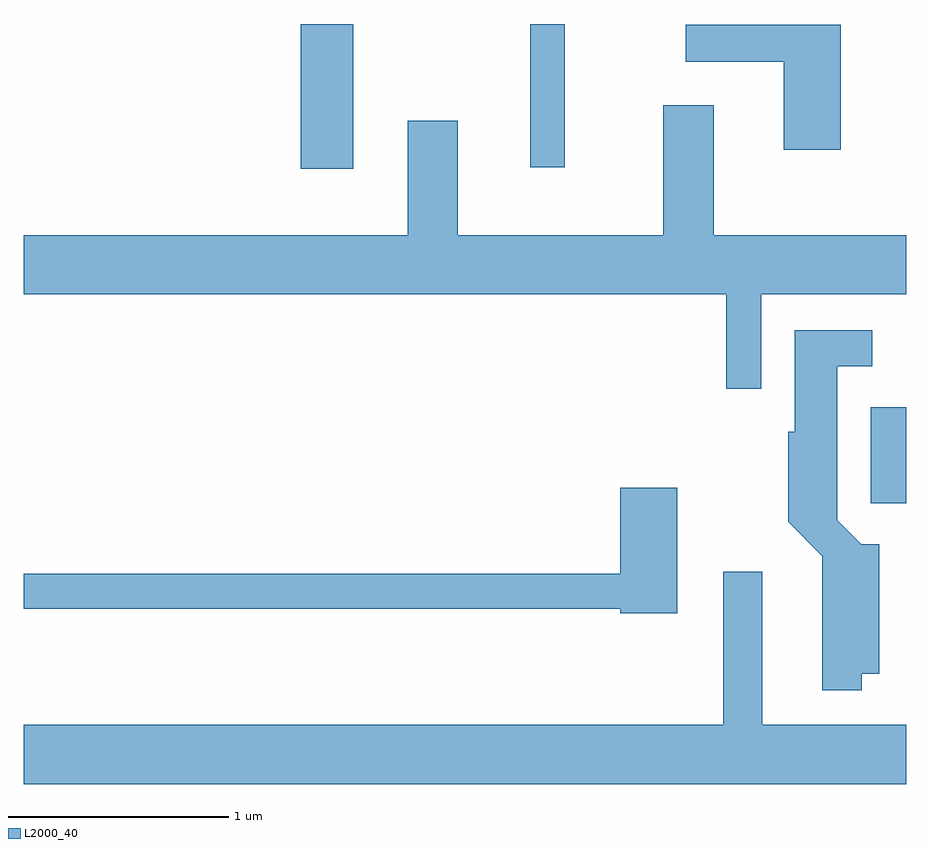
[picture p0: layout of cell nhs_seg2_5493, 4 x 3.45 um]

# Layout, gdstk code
import gdstk
lib = gdstk.Library(unit=1e-6, precision=1e-09)
def R(c, l, rs):  # rectangles x0, y0, x1, y1
    for r in rs: c.add(gdstk.rectangle(r[:2], r[2:], *l))
def P(c, l, *ps):  # polygons
    for p in ps: c.add(gdstk.Polygon(p, *l))
L2000_40 = (2000, 40)

nhs_seg2_5493 = lib.new_cell('nhs_seg2_5493')
R(nhs_seg2_5493, L2000_40, [(351.451,1009.628,351.611,1010.064), (348.866,1011.146,349.104,1011.802), (349.906,1011.153,350.064,1011.802)])
P(nhs_seg2_5493, L2000_40, [(351.314,1011.799),(350.613,1011.799),(350.613,1011.631),(351.056,1011.631),(351.056,1011.231),(351.314,1011.231)],
  [(350.954,1010.576),(351.611,1010.576),(351.611,1010.844),(350.739,1010.844),(350.739,1011.434),(350.511,1011.434),(350.511,1010.844),(349.579,1010.844),(349.579,1011.364),(349.351,1011.364),(349.351,1010.844),(347.611,1010.844),(347.611,1010.576),(350.796,1010.576),(350.796,1010.148),(350.954,1010.148)],
  [(351.409,1008.856),(351.489,1008.856),(351.489,1009.444),(351.407,1009.444),(351.299,1009.552),(351.299,1010.251),(351.458,1010.251),(351.458,1010.414),(351.106,1010.414),(351.106,1009.954),(351.076,1009.954),(351.076,1009.544),(351.231,1009.389),(351.231,1008.781),(351.409,1008.781)],
  [(350.574,1009.699),(350.316,1009.699),(350.316,1009.309),(347.611,1009.309),(347.611,1009.151),(350.316,1009.151),(350.316,1009.131),(350.574,1009.131)],
  [(351.611,1008.624),(350.959,1008.624),(350.959,1009.319),(350.781,1009.319),(350.781,1008.624),(347.611,1008.624),(347.611,1008.356),(351.611,1008.356)])

lib.write_gds('nhs_seg2_5493.gds')
